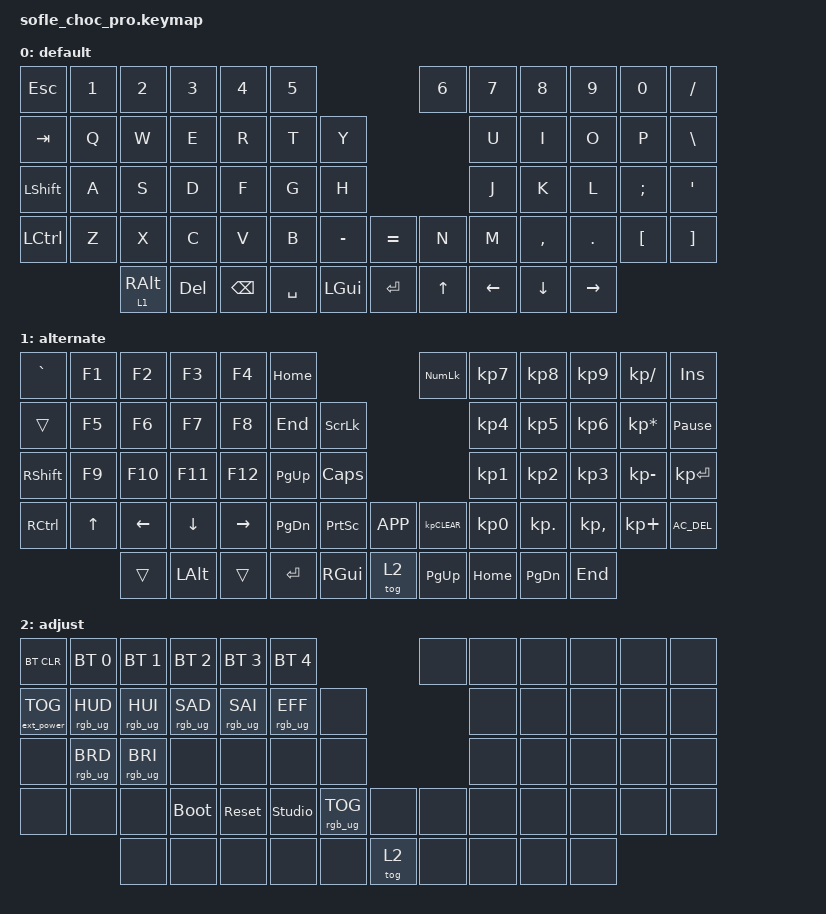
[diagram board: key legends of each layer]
/*
* Copyright (c) 2020 The ZMK Contributors
*
* SPDX-License-Identifier: MIT
*/

#include <behaviors.dtsi>
#include <dt-bindings/zmk/bt.h>
#include <dt-bindings/zmk/ext_power.h>
#include <dt-bindings/zmk/keys.h>
#include <dt-bindings/zmk/rgb.h>

#define BASE 0
#define LOWER 1
#define RAISE 2
#define ADJUST 3

/ {
    // Activate ADJUST layer by pressing raise and lower

    conditional_layers { compatible = "zmk,conditional-layers"; };

    combos { compatible = "zmk,combos"; };

    behaviors {
        hs: Hold-Sticky {
            compatible = "zmk,behavior-hold-tap";
            label = "Hold Sticky";
            bindings = <&mo>, <&sk>;

            #binding-cells = <2>;
            tapping-term-ms = <200>;
        };
    };

    keymap {
        compatible = "zmk,keymap";

        default_layer {
            display-name = "default";

            // ------------------------------------------------------------------------------------------------------------
            // |   `   |  1  |  2  |  3   |  4   |  5   |                   |  6   |  7    |  8    |  9   |   0   |   `   |
            // |  ESC  |  Q  |  W  |  E   |  R   |  T   |                   |  Y   |  U    |  I    |  O   |   P   | BKSPC |
            // |  TAB  |  A  |  S  |  D   |  F   |  G   |                   |  H   |  J    |  K    |  L   |   ;   |   '   |
            // | SHIFT |  Z  |  X  |  C   |  V   |  B   |  MUTE  |  | PLAY  |  N   |  M    |  ,    |  .   |   /   | SHIFT |
            //               | GUI | ALT  | CTRL | LOWER|  ENTER |  | SPACE | RAISE| CTRL  | ALT   | GUI  |

            bindings = <
&kp ESCAPE      &kp N1  &kp N2      &kp N3   &kp N4         &kp N5                           &kp N6  &kp N7    &kp N8     &kp N9     &kp N0            &kp SLASH
&kp TAB         &kp Q   &kp W       &kp E    &kp R          &kp T      &kp Y                         &kp U     &kp I      &kp O      &kp P             &kp BACKSLASH
&kp LEFT_SHIFT  &kp A   &kp S       &kp D    &kp F          &kp G      &kp H                         &kp J     &kp K      &kp L      &kp SEMICOLON     &kp APOS
&kp LCTRL       &kp Z   &kp X       &kp C    &kp V          &kp B      &kp MINUS  &kp EQUAL  &kp N   &kp M     &kp COMMA  &kp DOT    &kp LEFT_BRACKET  &kp RIGHT_BRACKET
                        &hs 1 RALT  &kp DEL  &kp BACKSPACE  &kp SPACE  &kp LGUI   &kp ENTER  &kp UP  &kp LEFT  &kp DOWN   &kp RIGHT
            >;
        };

        alternate_layer {
            bindings = <
&kp GRAVE   &kp F1  &kp F2    &kp F3    &kp F4     &kp HOME                                   &kp KP_NUM    &kp KP_N7  &kp KP_N8        &kp KP_N9     &kp KP_DIVIDE    &kp INSERT
&trans      &kp F5  &kp F6    &kp F7    &kp F8     &kp END        &kp SCROLLLOCK                            &kp KP_N4  &kp KP_NUMBER_5  &kp KP_N6     &kp KP_MULTIPLY  &kp PAUSE_BREAK
&kp RSHIFT  &kp F9  &kp F10   &kp F11   &kp F12    &kp PAGE_UP    &kp CAPSLOCK                              &kp KP_N1  &kp KP_N2        &kp KP_N3     &kp KP_MINUS     &kp KP_ENTER
&kp RCTRL   &kp UP  &kp LEFT  &kp DOWN  &kp RIGHT  &kp PAGE_DOWN  &kp PRINTSCREEN  &kp K_APP  &kp KP_CLEAR  &kp KP_N0  &kp KP_DOT       &kp KP_COMMA  &kp KP_PLUS      &kp C_AC_DEL
                    &trans    &kp LALT  &trans     &kp ENTER      &kp RGUI         &tog 2     &kp PG_UP     &kp HOME   &kp PG_DN        &kp END
            >;

            label = "alternate";
        };

        adjust_layer {
            // ----------------------------------------------------------------------------------------------------------------------------
            // | BTCLR  |  BT1    |  BT2    |   BT3   |   BT4   |   BT5   |                  |      |      |       |      |       |       |
            // | EXTPWR | RGB_HUD | RGB_HUI | RGB_SAD | RGB_SAI | RGB_EFF |                  |      |      |       |      |       |       |
            // |        | RGB_BRD | RGB_BRI |         |         |         |                  |      |      |       |      |       |       |
            // |        |         |         |         |         |         | RGB_TOG | |      |      |      |       |      |       |       |
            //                    |         |         |         |         |         | |      |      |      |       |      |

            display-name = "adjust";
            bindings = <
&bt BT_CLR         &bt BT_SEL 0     &bt BT_SEL 1     &bt BT_SEL 2     &bt BT_SEL 3     &bt BT_SEL 4                              &none  &none  &none  &none  &none  &none
&ext_power EP_TOG  &rgb_ug RGB_HUD  &rgb_ug RGB_HUI  &rgb_ug RGB_SAD  &rgb_ug RGB_SAI  &rgb_ug RGB_EFF  &none                           &none  &none  &none  &none  &none
&none              &rgb_ug RGB_BRD  &rgb_ug RGB_BRI  &none            &none            &none            &none                           &none  &none  &none  &none  &none
&none              &none            &none            &bootloader      &sys_reset       &studio_unlock   &rgb_ug RGB_TOG  &none   &none  &none  &none  &none  &none  &none
                                    &none            &none            &none            &none            &none            &tog 2  &none  &none  &none  &none
            >;
        };
    };
};
